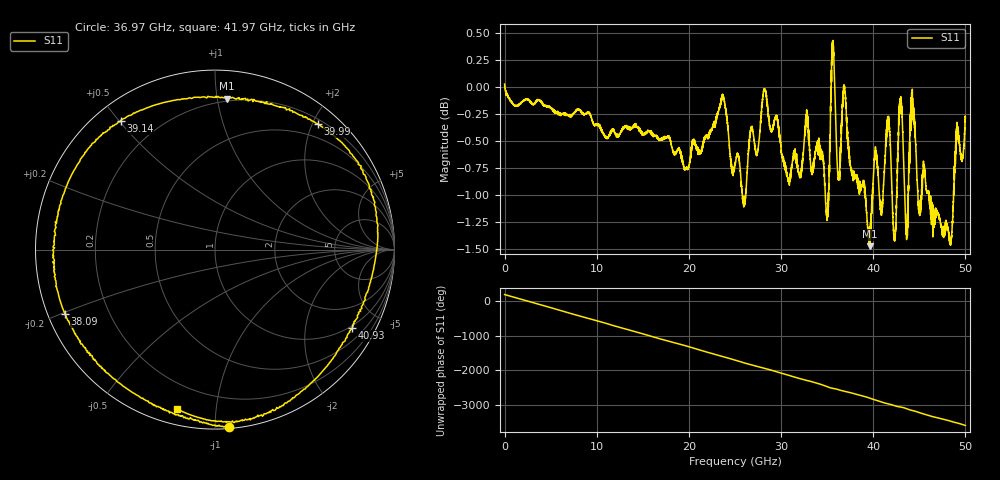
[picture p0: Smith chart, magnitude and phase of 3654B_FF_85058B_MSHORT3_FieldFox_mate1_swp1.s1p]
!Created with skrf (http://scikit-rf.org).
# Hz S RI R 50.0
!freq ReS11 ImS11
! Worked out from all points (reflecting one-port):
!   10000 points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, 5.3 MHz to 50 GHz, reference 50 ohm
!   lowest |S11| = -1.5 dB at 39.6 GHz (marker M1), VSWR 11.79, Z = 9.14 + j53.3 ohm
!   phase of S11 starts at 180 deg and turns -3761 deg over the sweep
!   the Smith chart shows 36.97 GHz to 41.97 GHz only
!   S11 on the Smith chart (normalised r, x): 36.97 GHz: 0.01, -1.08; 38.09 GHz: 0.05, -0.21; 39.14 GHz: 0.07, +0.51; 39.99 GHz: 0.27, +2.08; 40.93 GHz: 0.92, -3.56; 41.97 GHz: 0.07, -0.79
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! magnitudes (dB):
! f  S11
! 5.3 MHz  0.0
! 6.255 GHz  -0.3
! 12.51 GHz  -0.4
! 18.76 GHz  -0.6
! 23.67 GHz  -0.1
! 25.01 GHz  -0.7
! 26.02 GHz  -1.1
! 28.23 GHz  0.0
! 31.26 GHz  -0.7
! 34.96 GHz  -1.2
! 35.61 GHz  0.4
! 36.23 GHz  -0.9
! 36.97 GHz  -0.1
! 37.51 GHz  -0.7
! 38.09 GHz  -0.8
! 39.14 GHz  -1.0
! 39.6 GHz  -1.5
! 39.99 GHz  -0.9
! 40.93 GHz  -1.1
! 41.58 GHz  -0.3
! 41.97 GHz  -0.8
! 42.36 GHz  -1.4
! 42.99 GHz  -0.1
! 43.76 GHz  -1.1
! 44.26 GHz  -0.2
! 44.99 GHz  -1.1
! 48.34 GHz  -1.5
! 50 GHz  -0.3
